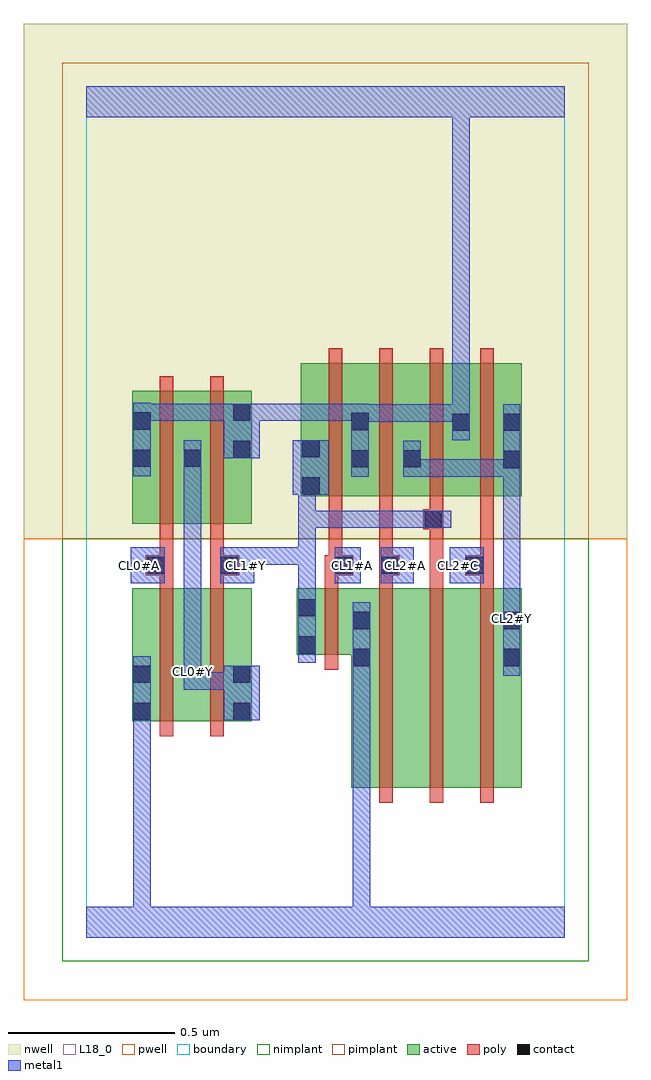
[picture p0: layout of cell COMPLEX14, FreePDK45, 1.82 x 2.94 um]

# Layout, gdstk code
import gdstk
lib = gdstk.Library(unit=1e-6, precision=1e-09)
def R(c, l, rs):  # rectangles x0, y0, x1, y1
    for r in rs: c.add(gdstk.rectangle(r[:2], r[2:], *l))
def A(c, l, x, y, w, h, nx, ny, dx, dy):  # array of equal rectangles
    R(c, l, [(x+i*dx, y+j*dy, x+i*dx+w, y+j*dy+h) for i in range(nx) for j in range(ny)])
active = (1, 0)
pwell = (2, 0)
nwell = (3, 0)
nimplant = (4, 0)
pimplant = (5, 0)
poly = (9, 0)
contact = (10, 0)
metal1 = (11, 0)
L18_0 = (18, 0)
boundary = (235, 0)

complex14 = lib.new_cell('COMPLEX14')
R(complex14, active, [(0.798,0.45,0.978,1.05), (0.798,0.45,0.858,1.012), (0.978,0.45,1.13,1.05), (1.13,0.45,1.31,1.05), (1.25,0.556,1.31,1.05), (0.138,0.65,0.198,1.05), (0.138,0.65,0.318,1.05), (0.318,0.65,0.498,1.05), (0.438,0.65,0.498,1.05), (0.634,0.85,0.858,1.05), (0.634,0.85,0.694,1.05), (0.138,1.244,0.198,1.644), (0.138,1.244,0.35,1.644), (0.29,1.244,0.498,1.644), (0.438,1.244,0.498,1.644), (0.646,1.328,0.854,1.728), (0.646,1.328,0.706,1.644), (0.794,1.328,1.01,1.728), (0.95,1.328,1.158,1.728), (1.098,1.328,1.31,1.728), (1.25,1.328,1.31,1.728), (0.794,1.41,0.854,1.644), (0.95,1.41,1.01,1.644), (0.29,1.412,0.35,1.644), (1.098,1.52,1.158,1.644)])
R(complex14, pwell, [(-0.188,-0.188,1.628,1.2)])
R(complex14, nwell, [(-0.188,1.2,1.628,2.748)])
R(complex14, nimplant, [(-0.072,-0.072,1.512,1.2)])
R(complex14, pimplant, [(-0.072,1.2,1.512,2.632)])
A(complex14, poly, 0.882, 0.406, 0.04, 0.688, 3, 1, 0.152, 0)
A(complex14, poly, 0.73, 1.284, 0.04, 0.488, 4, 1, 0.152, 0)
R(complex14, poly, [(0.222,0.606,0.262,1.094), (0.374,0.606,0.414,1.094), (0.718,0.806,0.758,1.094), (0.222,1.054,0.262,1.13), (0.374,1.054,0.414,1.13), (0.718,1.054,0.758,1.13), (0.882,1.054,0.922,1.13), (1.034,1.054,1.074,1.268), (1.186,1.054,1.226,1.13), (0.18,1.09,0.262,1.15), (0.222,1.09,0.262,1.13), (0.222,1.09,0.262,1.13), (0.374,1.09,0.46,1.15), (0.718,1.09,0.804,1.15), (0.882,1.09,0.942,1.15), (1.14,1.09,1.226,1.15), (0.222,1.11,0.262,1.24), (0.374,1.11,0.414,1.15), (0.374,1.11,0.414,1.15), (0.374,1.11,0.414,1.24), (0.73,1.11,0.77,1.324), (0.73,1.11,0.77,1.15), (0.73,1.11,0.77,1.15), (0.882,1.11,0.922,1.324), (0.882,1.11,0.922,1.15), (0.882,1.11,0.922,1.15), (1.186,1.11,1.226,1.324), (1.186,1.11,1.226,1.15), (1.186,1.11,1.226,1.15), (0.222,1.2,0.262,1.688), (0.374,1.2,0.414,1.688), (1.014,1.228,1.074,1.288), (1.034,1.228,1.074,1.268), (1.034,1.228,1.074,1.268), (1.034,1.248,1.074,1.324)])
R(complex14, contact, [(0.142,0.654,0.194,0.706), (0.442,0.654,0.494,0.706), (0.142,0.766,0.194,0.818), (0.442,0.766,0.494,0.818), (0.802,0.816,0.854,0.868), (1.254,0.816,1.306,0.868), (0.638,0.854,0.69,0.906), (0.802,0.928,0.854,0.98), (1.254,0.928,1.306,0.98), (0.638,0.966,0.69,1.018), (0.184,1.094,0.236,1.146), (0.404,1.094,0.456,1.146), (0.748,1.094,0.8,1.146), (0.886,1.094,0.938,1.146), (1.144,1.094,1.196,1.146), (1.018,1.232,1.07,1.284), (0.65,1.332,0.702,1.384), (1.254,1.412,1.306,1.464), (0.798,1.414,0.85,1.466), (0.954,1.414,1.006,1.466), (0.142,1.416,0.194,1.468), (0.294,1.416,0.346,1.468), (0.442,1.442,0.494,1.494), (0.65,1.444,0.702,1.496), (1.102,1.524,1.154,1.576), (1.254,1.524,1.306,1.576), (0.798,1.526,0.85,1.578), (0.142,1.528,0.194,1.58), (0.442,1.554,0.494,1.606)])
R(complex14, metal1, [(0,0,1.44,0.092), (0.142,0.04,0.194,0.092), (0.142,0.04,0.194,0.092), (0.142,0.04,0.194,0.092), (0.142,0.04,0.194,0.092), (0.142,0.04,0.194,0.092), (0.142,0.04,0.194,0.092), (0.142,0.04,0.194,0.092), (0.142,0.04,0.194,0.092), (0.142,0.04,0.194,0.678), (0.802,0.04,0.854,0.84), (0.142,0.626,0.194,0.678), (0.142,0.626,0.194,0.678), (0.142,0.626,0.194,0.678), (0.142,0.626,0.194,0.678), (0.142,0.626,0.194,0.846), (0.414,0.654,0.522,0.818), (0.294,0.746,0.346,0.798), (0.294,0.746,0.346,0.798), (0.294,0.746,0.346,0.798), (0.294,0.746,0.346,0.798), (0.294,0.746,0.346,0.854), (0.294,0.746,0.466,0.798), (0.802,0.788,0.854,0.84), (0.802,0.788,0.854,0.84), (0.802,0.788,0.854,0.84), (0.802,0.788,0.854,0.84), (0.802,0.788,0.854,0.84), (0.802,0.788,0.854,0.84), (0.802,0.788,0.854,0.84), (0.802,0.788,0.854,0.84), (0.802,0.788,0.854,1.008), (1.254,0.788,1.306,1.008), (0.294,0.802,0.346,1.44), (0.638,0.826,0.69,1.046), (1.254,0.906,1.306,0.958), (1.254,0.906,1.306,1.014), (1.254,0.962,1.306,1.436), (0.638,0.994,0.69,1.174), (0.134,1.066,0.236,1.174), (0.404,1.066,0.506,1.174), (0.748,1.066,0.826,1.174), (0.886,1.066,0.986,1.174), (1.094,1.066,1.196,1.174), (0.454,1.122,0.506,1.174), (0.454,1.122,0.506,1.174), (0.454,1.122,0.69,1.174), (0.638,1.122,0.69,1.174), (0.638,1.122,0.69,1.284), (0.638,1.232,0.69,1.284), (0.638,1.232,0.69,1.284), (0.638,1.232,0.69,1.284), (0.638,1.232,0.854,1.284), (0.638,1.232,0.69,1.384), (0.802,1.232,0.854,1.284), (0.802,1.232,0.854,1.284), (0.802,1.232,0.854,1.284), (0.802,1.232,0.964,1.284), (0.912,1.232,0.964,1.284), (0.912,1.232,1.042,1.284), (0.99,1.232,1.098,1.284), (0.622,1.332,0.73,1.496), (1.254,1.384,1.306,1.436), (1.254,1.384,1.306,1.436), (1.254,1.384,1.306,1.604), (0.798,1.386,0.85,1.606), (0.954,1.386,1.006,1.438), (0.954,1.386,1.006,1.438), (0.954,1.386,1.006,1.494), (0.954,1.386,1.196,1.438), (1.144,1.386,1.196,1.438), (1.144,1.386,1.196,1.438), (1.144,1.386,1.196,1.438), (1.144,1.386,1.306,1.438), (0.142,1.388,0.194,1.608), (0.294,1.388,0.346,1.44), (0.294,1.388,0.346,1.44), (0.294,1.388,0.346,1.496), (0.414,1.442,0.522,1.606), (1.102,1.496,1.154,1.604), (0.798,1.552,0.85,1.604), (0.798,1.552,0.85,1.604), (0.798,1.552,0.964,1.604), (0.912,1.552,0.964,1.604), (0.912,1.552,0.964,1.604), (0.912,1.552,0.964,1.604), (0.912,1.552,1.154,1.604), (1.102,1.552,1.154,2.52), (0.142,1.554,0.194,1.606), (0.142,1.554,0.194,1.606), (0.142,1.554,0.304,1.606), (0.252,1.554,0.304,1.606), (0.252,1.554,0.466,1.606), (0.414,1.554,0.466,1.606), (0.414,1.554,0.466,1.606), (0.47,1.554,0.74,1.606), (0.688,1.554,0.74,1.606), (0.688,1.554,0.74,1.606), (0.688,1.554,0.74,1.606), (0.688,1.554,0.85,1.606), (0,2.468,1.44,2.56), (1.102,2.468,1.154,2.52), (1.102,2.468,1.154,2.52), (1.102,2.468,1.154,2.52), (1.102,2.468,1.154,2.52), (1.102,2.468,1.154,2.52), (1.102,2.468,1.154,2.52), (1.102,2.468,1.154,2.52), (1.102,2.468,1.154,2.52), (1.102,2.468,1.154,2.52), (1.102,2.468,1.154,2.52), (1.102,2.468,1.154,2.52), (1.102,2.468,1.154,2.52), (1.102,2.468,1.154,2.52), (1.102,2.468,1.154,2.52), (1.102,2.468,1.154,2.52), (1.102,2.468,1.154,2.52)])
A(complex14, L18_0, 0.134, 1.094, 0.052, 0.052, 3, 1, 0.32, 0)
R(complex14, L18_0, [(0,0,1.44,0.092), (0.142,0.04,0.194,0.092), (0.142,0.04,0.194,0.092), (0.142,0.04,0.194,0.092), (0.142,0.04,0.194,0.092), (0.142,0.04,0.194,0.092), (0.142,0.04,0.194,0.092), (0.142,0.04,0.194,0.092), (0.142,0.04,0.194,0.092), (0.142,0.04,0.194,0.678), (0.802,0.04,0.854,0.84), (0.142,0.626,0.194,0.678), (0.142,0.626,0.194,0.678), (0.142,0.626,0.194,0.678), (0.142,0.626,0.194,0.678), (0.142,0.626,0.194,0.846), (0.414,0.654,0.522,0.818), (0.294,0.746,0.346,0.798), (0.294,0.746,0.346,0.798), (0.294,0.746,0.346,0.798), (0.294,0.746,0.346,0.798), (0.294,0.746,0.346,0.854), (0.294,0.746,0.466,0.798), (0.294,0.774,0.346,0.826), (0.802,0.788,0.854,0.84), (0.802,0.788,0.854,0.84), (0.802,0.788,0.854,0.84), (0.802,0.788,0.854,0.84), (0.802,0.788,0.854,0.84), (0.802,0.788,0.854,0.84), (0.802,0.788,0.854,0.84), (0.802,0.788,0.854,0.84), (0.802,0.788,0.854,1.008), (1.254,0.788,1.306,1.008), (0.294,0.802,0.346,1.44), (0.638,0.826,0.69,1.046), (1.254,0.906,1.306,0.958), (1.254,0.906,1.306,1.014), (1.254,0.934,1.306,0.986), (1.254,0.962,1.306,1.436), (0.638,0.994,0.69,1.174), (0.134,1.066,0.236,1.174), (0.404,1.066,0.506,1.174), (0.748,1.066,0.826,1.174), (0.886,1.066,0.986,1.174), (1.094,1.066,1.196,1.174), (0.934,1.094,0.986,1.146), (1.094,1.094,1.146,1.146), (0.454,1.122,0.506,1.174), (0.454,1.122,0.506,1.174), (0.454,1.122,0.69,1.174), (0.638,1.122,0.69,1.174), (0.638,1.122,0.69,1.284), (0.638,1.232,0.69,1.284), (0.638,1.232,0.69,1.284), (0.638,1.232,0.69,1.284), (0.638,1.232,0.69,1.384), (0.638,1.232,0.854,1.284), (0.802,1.232,0.854,1.284), (0.802,1.232,0.854,1.284), (0.802,1.232,0.854,1.284), (0.802,1.232,0.964,1.284), (0.912,1.232,0.964,1.284), (0.912,1.232,1.042,1.284), (0.99,1.232,1.098,1.284), (0.622,1.332,0.73,1.496), (1.254,1.384,1.306,1.436), (1.254,1.384,1.306,1.436), (1.254,1.384,1.306,1.604), (0.798,1.386,0.85,1.606), (0.954,1.386,1.006,1.438), (0.954,1.386,1.006,1.438), (0.954,1.386,1.006,1.494), (0.954,1.386,1.196,1.438), (1.144,1.386,1.196,1.438), (1.144,1.386,1.196,1.438), (1.144,1.386,1.196,1.438), (1.144,1.386,1.306,1.438), (0.142,1.388,0.194,1.608), (0.294,1.388,0.346,1.44), (0.294,1.388,0.346,1.44), (0.294,1.388,0.346,1.496), (0.414,1.442,0.522,1.606), (1.102,1.496,1.154,1.604), (0.798,1.552,0.85,1.604), (0.798,1.552,0.85,1.604), (0.798,1.552,0.964,1.604), (0.912,1.552,0.964,1.604), (0.912,1.552,0.964,1.604), (0.912,1.552,0.964,1.604), (0.912,1.552,1.154,1.604), (1.102,1.552,1.154,2.52), (0.142,1.554,0.194,1.606), (0.142,1.554,0.194,1.606), (0.142,1.554,0.304,1.606), (0.252,1.554,0.304,1.606), (0.252,1.554,0.466,1.606), (0.414,1.554,0.466,1.606), (0.414,1.554,0.466,1.606), (0.47,1.554,0.74,1.606), (0.688,1.554,0.74,1.606), (0.688,1.554,0.74,1.606), (0.688,1.554,0.74,1.606), (0.688,1.554,0.85,1.606), (0,2.468,1.44,2.56), (1.102,2.468,1.154,2.52), (1.102,2.468,1.154,2.52), (1.102,2.468,1.154,2.52), (1.102,2.468,1.154,2.52), (1.102,2.468,1.154,2.52), (1.102,2.468,1.154,2.52), (1.102,2.468,1.154,2.52), (1.102,2.468,1.154,2.52), (1.102,2.468,1.154,2.52), (1.102,2.468,1.154,2.52), (1.102,2.468,1.154,2.52), (1.102,2.468,1.154,2.52), (1.102,2.468,1.154,2.52), (1.102,2.468,1.154,2.52), (1.102,2.468,1.154,2.52), (1.102,2.468,1.154,2.52)])
R(complex14, boundary, [(0,0,1.44,2.56)])
complex14.add(gdstk.Label('CL0#A', (0.16,1.12), layer=11, texttype=0))
complex14.add(gdstk.Label('CL0#Y', (0.32,0.8), layer=11, texttype=0))
complex14.add(gdstk.Label('CL1#A', (0.8,1.12), layer=11, texttype=0))
complex14.add(gdstk.Label('CL1#Y', (0.48,1.12), layer=11, texttype=0))
complex14.add(gdstk.Label('CL2#A', (0.96,1.12), layer=11, texttype=0))
complex14.add(gdstk.Label('CL2#C', (1.12,1.12), layer=11, texttype=0))
complex14.add(gdstk.Label('CL2#Y', (1.28,0.96), layer=11, texttype=0))

lib.write_gds('COMPLEX14.gds')
